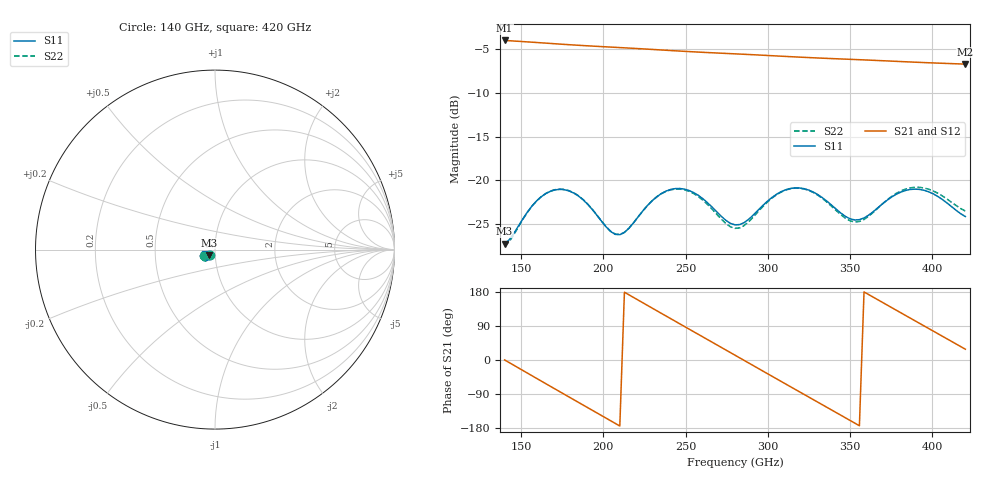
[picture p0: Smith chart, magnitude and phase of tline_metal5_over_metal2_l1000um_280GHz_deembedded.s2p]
! Created with skrf 2.2.0 (http://scikit-rf.org).
# GHz S DB R 50.0
! Port[1] = P1
! Port[2] = P2
!freq dBS11 angS11 dBS21 angS21 dBS12 angS12 dBS22 angS22
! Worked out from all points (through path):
!   101 points, 140 GHz to 420 GHz, reference 50 ohm
!   highest |S21| = -4.04 dB at 140 GHz (marker M1); lowest = -6.7 dB at 420 GHz (marker M2)
!   group delay of S21, straight-line fit = 6.86 ps
!   lowest |S11| = -27.2 dB at 140 GHz (marker M3), VSWR 1.09, Z = 46.8 - j2.75 ohm
!   |S11| at or under -10 dB: start of sweep to end of sweep
!   |S22| runs from -27.5 to -20.8 dB; largest |S21 - S12| = 8.2e-14
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140  -27.20 -137.7  -4.04 0.2  -4.04 0.2  -27.49 -136.3
151.2  -24.35 -122.7  -4.17 -27.9  -4.17 -27.9  -24.40 -121.1
165.2  -21.47 -133.2  -4.34 -62.9  -4.34 -62.9  -21.46 -132.2
176.4  -21.06 -147.5  -4.49 -90.8  -4.49 -90.8  -21.03 -146.7
187.6  -22.19 -159.6  -4.62 -118.6  -4.62 -118.6  -22.16 -159.0
198.8  -24.62 -161.8  -4.74 -146.4  -4.74 -146.4  -24.59 -161.4
210  -26.18 -144.8  -4.85 -174.2  -4.85 -174.2  -26.16 -144.5
221.2  -24.13 -130.7  -4.97 158.0  -4.97 158.0  -24.13 -130.5
235.2  -21.50 -137.0  -5.12 123.3  -5.12 123.3  -21.52 -136.9
254.8  -21.37 -157.1  -5.34 74.9  -5.34 74.9  -21.48 -157.3
268.8  -23.55 -162.5  -5.47 40.3  -5.47 40.3  -23.83 -162.6
280  -25.06 -151.4  -5.56 12.7  -5.56 12.7  -25.46 -149.9
294  -23.40 -136.8  -5.69 -21.9  -5.69 -21.9  -23.57 -134.0
308  -21.28 -142.1  -5.83 -56.5  -5.83 -56.5  -21.32 -139.8
327.6  -21.32 -159.2  -6.01 -104.6  -6.01 -104.6  -21.37 -157.4
341.6  -23.29 -163.0  -6.13 -139.0  -6.13 -139.0  -23.45 -161.1
352.8  -24.51 -153.0  -6.21 -166.6  -6.21 -166.6  -24.73 -149.9
364  -23.55 -141.7  -6.30 165.8  -6.30 165.8  -23.64 -137.5
375.2  -21.89 -141.9  -6.40 138.3  -6.40 138.3  -21.81 -137.6
386.4  -21.03 -149.4  -6.49 110.8  -6.49 110.8  -20.85 -145.2
397.6  -21.28 -158.1  -6.58 83.3  -6.58 83.3  -20.99 -154.0
420  -24.11 -157.6  -6.73 28.4  -6.73 28.4  -23.49 -154.9
